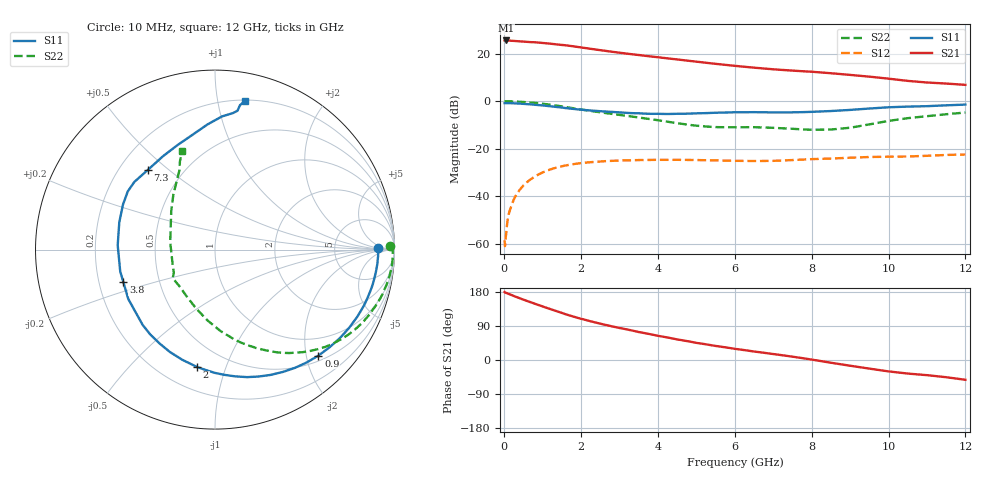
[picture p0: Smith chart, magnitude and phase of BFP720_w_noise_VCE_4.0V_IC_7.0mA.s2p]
! Infineon Technologies  Discrete & RF Semiconductors
! BFP720
! VCE =  4.0 V,  IC =  7.0 mA
! Common Emitter S-Parameters:  Aug 2012
# GHz  S  MA  R  50
!  f  S11  S21  S12  S22
! GHz  MAG  ANG  MAG  ANG  MAG  ANG  MAG  ANG
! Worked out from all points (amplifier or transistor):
!   105 points, 10 MHz to 12 GHz, reference 50 ohm
!   highest |S21| = 25.5 dB at 50 MHz (marker M1)
!   |S21| within 3 dB of that: start of sweep to 2.03 GHz
!   unconditionally stable (mu >= 1): start of sweep to 11.86 MHz; 6.055 GHz to 11.3 GHz
!   at 300 MHz: K = 0.11, MSG = 32.5 dB, |S12| = -39.7 dB
!   at 3.6 GHz: K = 0.59, MSG = 21.9 dB, |S12| = -24.7 dB
!   at 12 GHz: K = 0.79, MSG = 14.6 dB, |S12| = -22.4 dB
!   lowest NFmin = 0.44 dB at 450 MHz
!   S11 on the Smith chart (normalised r, x): 10 MHz: 21, +2; 900 MHz: 0.60, -2.24; 2 GHz: 0.34, -0.80; 3.8 GHz: 0.31, -0.16; 7.3 GHz: 0.32, +0.43; 12 GHz: 0.21, +1.20
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0.01  0.9077 0.5  18.77 179.4  0.0012 17.4  0.9735 1.2
0.02  0.9091 -0.9  18.64 178.1  0.0009 60.9  0.9905 -0.5
0.05  0.9094 -2.3  18.8 177.0  0.0016 66.5  0.9905 -1.6
0.15  0.9054 -7.6  18.62 173.1  0.0052 79.3  0.9896 -5.0
0.45  0.8816 -22.7  17.89 161.1  0.0153 74.7  0.9654 -15.0
0.9  0.8251 -45.7  16.94 144.8  0.0291 62.5  0.8999 -29.4
1.3  0.764 -66.0  15.76 130.9  0.039 51.8  0.8194 -41.4
1.6  0.7146 -81.1  14.88 120.7  0.0446 44.5  0.7524 -49.4
2  0.662 -98.6  13.41 108.8  0.0499 36.2  0.6685 -58.9
2.1  0.6496 -102.5  13.05 106.2  0.0509 34.3  0.6493 -60.9
2.4  0.6233 -113.8  12.06 98.3  0.0534 29.3  0.5974 -67.0
2.8  0.5946 -127.4  10.9 88.9  0.0557 23.6  0.5395 -74.2
3.5  0.5561 -150.3  9.294 73.8  0.0579 15.7  0.4537 -86.3
3.8  0.5419 -160.3  8.695 68.1  0.0582 13.0  0.4185 -91.7
4.1  0.5388 -170.2  8.165 62.1  0.0585 10.4  0.3859 -98.0
5  0.5545 164.1  6.746 45.2  0.058 4.1  0.3052 -121.0
6.1  0.5841 145.0  5.413 28.2  0.0557 0.7  0.2829 -142.8
7.3  0.5808 130.2  4.484 11.7  0.057 1.7  0.2674 -149.7
8.5  0.6194 109.5  3.853 -7.2  0.0623 -0.7  0.2531 170.5
9.5  0.6989 93.4  3.267 -22.7  0.0671 -4.4  0.3246 138.7
10.5  0.7673 82.5  2.662 -35.8  0.0688 -8.3  0.4387 119.0
12  0.8462 78.5  2.196 -52.2  0.0757 -14.8  0.5765 108.5
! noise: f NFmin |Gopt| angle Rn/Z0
0.45  0.44  0.4  3  -0.03
1.8  0.52  0.37  23  0.13
2.4  0.57  0.28  50  0.26
5.5  0.71  0.17  49  0.16
10  0.94  0.39  -86  0.2
